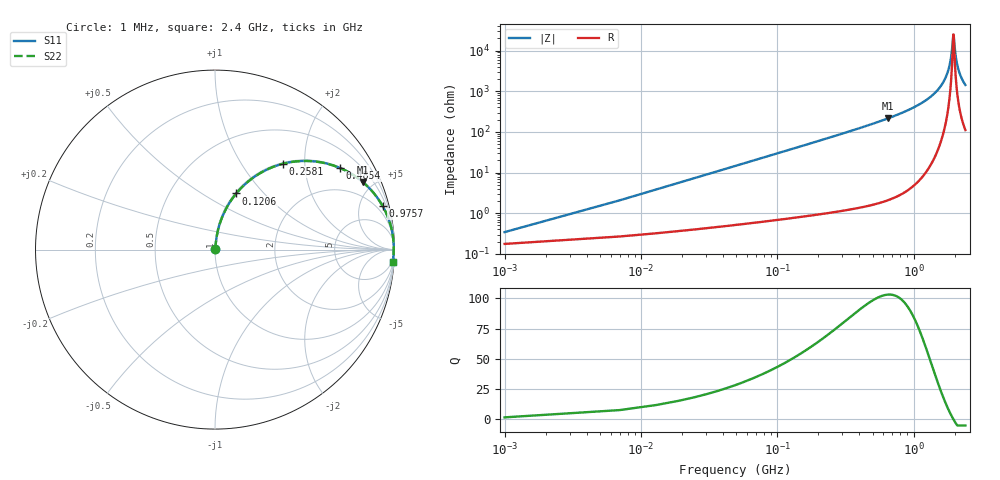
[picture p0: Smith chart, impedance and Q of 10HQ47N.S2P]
! Coilcraft 1008HQ-47N Chip Inductor
! 10 July 2002
# MHZ S MA R 50
!Freq  MagS11  AngS11  MagS21  AngS21  MagS12  AngS12  MagS22  AngS22
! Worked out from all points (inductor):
!   403 points, 1 MHz to 2.4 GHz, reference 50 ohm
!   read as one part in series: L = 47 nH near 12.96 MHz
!   highest Q = 103 at 652.8 MHz (marker M1), where L = 52.8 nH
!   self-resonance near 1.956 GHz
!   S11 on the Smith chart (normalised r, x): 1 MHz: 1.00, +0.01; 120.6 MHz: 1.01, +0.71; 258.1 MHz: 1.02, +1.55; 485.4 MHz: 1.03, +3.05; 975.7 MHz: 1.09, +7.66; 2.4 GHz: 3, -28
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1  0.003432 59.0  0.9982 -0.2  0.9982 -0.2  0.003432 59.0
18.94  0.05577 83.1  0.9948 -3.2  0.9948 -3.2  0.05577 83.1
36.88  0.1079 81.4  0.9896 -6.2  0.9896 -6.2  0.1079 81.4
72.76  0.2092 76.3  0.9721 -12.1  0.9721 -12.1  0.2092 76.3
120.6  0.3345 69.3  0.9355 -19.5  0.9355 -19.5  0.3345 69.3
258.14  0.609 51.7  0.7849 -37.5  0.7849 -37.5  0.609 51.7
401.66  0.7738 38.7  0.625 -50.7  0.625 -50.7  0.7738 38.7
485.38  0.8326 33.0  0.5453 -56.4  0.5453 -56.4  0.8326 33.0
652.82  0.9047 24.7  0.4173 -64.8  0.4173 -64.8  0.9047 24.7
802.32  0.9405 19.3  0.3306 -70.1  0.3306 -70.1  0.9405 19.3
975.74  0.9648 14.6  0.252 -74.7  0.252 -74.7  0.9648 14.6
1202.98  0.9822 9.9  0.1726 -79.1  0.1726 -79.1  0.9822 9.9
1603.64  0.9944 4.0  0.06981 -83.4  0.06981 -83.4  0.9944 4.0
1735.2  0.9957 2.4  0.04251 -82.9  0.04251 -82.9  0.9957 2.4
1830.88  0.9961 1.4  0.02413 -79.9  0.02413 -79.9  0.9961 1.4
1896.66  0.9961 0.7  0.01232 -71.2  0.01232 -71.2  0.9961 0.7
1956.46  0.996 0.1  0.004117 -14.5  0.004117 -14.5  0.996 0.1
1974.4  0.996 -0.1  0.004547 27.4  0.004547 27.4  0.996 -0.1
2004.3  0.9959 -0.4  0.008349 60.0  0.008349 60.0  0.9959 -0.4
2058.12  0.9956 -0.9  0.01692 74.4  0.01692 74.4  0.9956 -0.9
2135.86  0.9951 -1.7  0.02946 79.5  0.02946 79.5  0.9951 -1.7
2400  0.9922 -4.0  0.06957 81.6  0.06957 81.6  0.9922 -4.0
